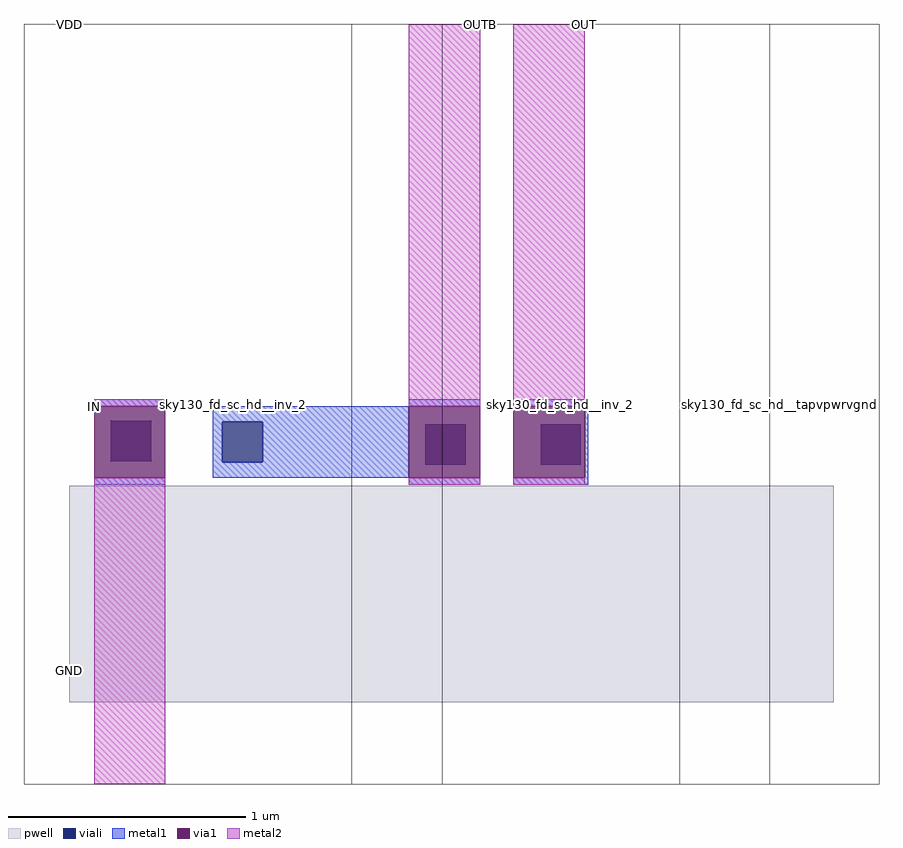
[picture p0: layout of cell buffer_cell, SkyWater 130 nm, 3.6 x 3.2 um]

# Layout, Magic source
magic
tech sky130A
magscale 1 2
<< pwell >>
rect 0 -12779 644 -12597
<< viali >>
rect 35 -12576 69 -12542
rect 129 -12577 163 -12543
rect 300 -12579 334 -12545
rect 397 -12579 431 -12545
<< metal1 >>
rect 21 -12530 81 -12524
rect 286 -12530 346 -12524
rect 121 -12543 286 -12530
rect 121 -12577 129 -12543
rect 163 -12577 286 -12543
rect 121 -12590 286 -12577
rect 21 -12596 81 -12590
rect 286 -12596 346 -12590
rect 374 -12530 434 -12524
rect 434 -12590 437 -12530
rect 374 -12596 437 -12590
<< via1 >>
rect 21 -12542 81 -12530
rect 21 -12576 35 -12542
rect 35 -12576 69 -12542
rect 69 -12576 81 -12542
rect 21 -12590 81 -12576
rect 286 -12545 346 -12530
rect 286 -12579 300 -12545
rect 300 -12579 334 -12545
rect 334 -12579 346 -12545
rect 286 -12590 346 -12579
rect 374 -12545 434 -12530
rect 374 -12579 397 -12545
rect 397 -12579 431 -12545
rect 431 -12579 434 -12545
rect 374 -12590 434 -12579
<< metal2 >>
rect 21 -12530 81 -12524
rect 21 -12848 81 -12590
rect 286 -12530 346 -12208
rect 286 -12596 346 -12590
rect 374 -12530 434 -12208
rect 374 -12596 434 -12590
use sky130_fd_sc_hd__tapvpwrvgnd_1  sky130_fd_sc_hd__tapvpwrvgnd_1_0 ~/pdk/sky130A/libs.ref/sky130_fd_sc_hd/mag
transform 1 0 552 0 1 -12800
box -38 -48 130 592
use sky130_fd_sc_hd__inv_2  x1 ~/pdk/sky130A/libs.ref/sky130_fd_sc_hd/mag
transform 1 0 0 0 1 -12800
box -38 -48 314 592
use sky130_fd_sc_hd__inv_2  x2
transform 1 0 276 0 1 -12800
box -38 -48 314 592
<< labels >>
flabel metal1 s 21 -12530 21 -12530 4 FreeSans 240 0 0 0 IN
port 0 se
flabel metal2 s 434 -12208 434 -12208 4 FreeSans 240 270 0 0 OUT
port 1 se
flabel metal2 s 346 -12208 346 -12208 4 FreeSans 240 270 0 0 OUTB
port 2 se
flabel metal1 s 0 -12208 0 -12208 4 FreeSans 240 0 0 0 VDD
port 3 se
flabel metal1 s 0 -12752 0 -12752 4 FreeSans 240 0 0 0 GND
port 4 se
<< end >>
